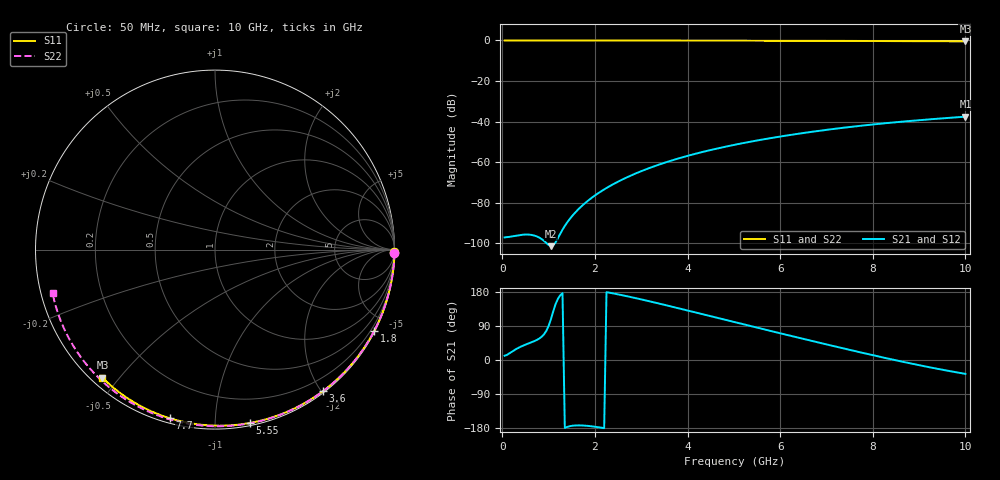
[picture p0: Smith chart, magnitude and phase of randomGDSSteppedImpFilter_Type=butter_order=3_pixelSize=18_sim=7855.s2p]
! freq	dB(S11)	phase(S11)	dB(S12)	phase(S12)
!  dB(S21)	phase(S21)	dB(S22)	phase(S22)
!S-par simulation data
#  GHz  S  DB  R 50
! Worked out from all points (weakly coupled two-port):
!   200 points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, 50 MHz to 10 GHz, reference 50 ohm
!   highest |S21| = -37.59 dB at 10 GHz (marker M1); lowest = -101.5 dB at 1.05 GHz (marker M2)
!   lowest |S11| = -0.4 dB at 10 GHz (marker M3), VSWR 38.90, Z = 1.55 - j22.6 ohm
!   |S11| at or under -10 dB: nowhere
!   |S22| runs from -0.6 to 0.0 dB; largest |S21 - S12| = 0
!   S11 on the Smith chart (normalised r, x): 50 MHz: open; 1.8 GHz: 0.04, -4.18; 3.6 GHz: 0.02, -2.02; 5.55 GHz: 0.02, -1.22; 7.7 GHz: 0.02, -0.77; 10 GHz: 0.03, -0.45
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0.05  -0.00 -0.8  -97.18 11.2  -97.18 11.2  -0.00 -1.0
0.55  -0.01 -8.3  -95.76 42.9  -95.76 42.9  -0.01 -10.4
1.05  -0.02 -15.8  -101.50 107.5  -101.50 107.5  -0.02 -19.8
1.75  -0.03 -26.2  -80.99 -172.9  -80.99 -172.9  -0.04 -32.7
1.8  -0.03 -26.9  -80.00 -173.4  -80.00 -173.4  -0.04 -33.6
1.95  -0.04 -29.1  -77.31 -175.3  -77.31 -175.3  -0.05 -36.3
2.1  -0.04 -31.3  -74.94 -177.9  -74.94 -177.9  -0.05 -39.1
2.3  -0.04 -34.2  -72.14 177.9  -72.14 177.9  -0.05 -42.6
2.5  -0.05 -37.1  -69.66 173.2  -69.66 173.2  -0.06 -46.2
2.9  -0.06 -42.8  -65.44 162.8  -65.44 162.8  -0.07 -53.3
3.4  -0.07 -49.8  -61.12 148.5  -61.12 148.5  -0.08 -61.9
3.6  -0.07 -52.6  -59.63 142.6  -59.63 142.6  -0.09 -65.4
4.3  -0.09 -62.2  -55.15 121.6  -55.15 121.6  -0.11 -77.1
5.05  -0.11 -72.1  -51.31 98.9  -51.31 98.9  -0.14 -89.2
5.55  -0.13 -78.6  -49.15 83.9  -49.15 83.9  -0.16 -97.1
6.1  -0.15 -85.6  -47.05 67.5  -47.05 67.5  -0.19 -105.6
6.7  -0.18 -93.0  -45.03 49.9  -45.03 49.9  -0.22 -114.7
7.2  -0.21 -99.0  -43.53 35.3  -43.53 35.3  -0.26 -122.2
7.7  -0.24 -105.0  -42.19 21.1  -42.19 21.1  -0.30 -129.7
8.35  -0.29 -112.6  -40.66 3.2  -40.66 3.2  -0.36 -139.4
9.2  -0.36 -122.3  -38.97 -18.6  -38.97 -18.6  -0.45 -152.3
10  -0.45 -131.3  -37.59 -36.7  -37.59 -36.7  -0.56 -164.9
